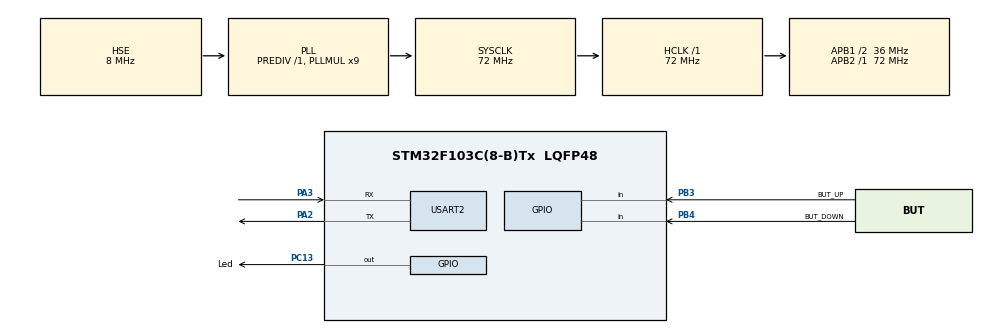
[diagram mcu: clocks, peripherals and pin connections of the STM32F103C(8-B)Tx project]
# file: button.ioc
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Mcu.Family=STM32F1
Mcu.Name=STM32F103C(8-B)Tx
Mcu.Package=LQFP48
NVIC.PriorityGroup=NVIC_PRIORITYGROUP_4
NVIC.USART2_IRQn=true\:0\:0\:false\:false\:true\:true\:true\:true
PA13.Mode=Serial_Wire
PA13.Signal=SYS_JTMS-SWDIO
PA14.Mode=Serial_Wire
PA14.Signal=SYS_JTCK-SWCLK
PA2.Mode=Asynchronous
PA2.Signal=USART2_TX
PA3.Mode=Asynchronous
PA3.Signal=USART2_RX
PB3.GPIO_Label=BUT_UP
PB3.Signal=GPIO_Input
PB4.GPIO_Label=BUT_DOWN
PB4.Signal=GPIO_Input
PC13-TAMPER-RTC.GPIO_Label=Led
PC13-TAMPER-RTC.Signal=GPIO_Output
PC14-OSC32_IN.Mode=LSE-External-Oscillator
PC14-OSC32_IN.Signal=RCC_OSC32_IN
PC15-OSC32_OUT.Mode=LSE-External-Oscillator
PC15-OSC32_OUT.Signal=RCC_OSC32_OUT
PD0-OSC_IN.Mode=HSE-External-Oscillator
PD0-OSC_IN.Signal=RCC_OSC_IN
PD1-OSC_OUT.Mode=HSE-External-Oscillator
PD1-OSC_OUT.Signal=RCC_OSC_OUT
ProjectManager.HeapSize=0x200
ProjectManager.StackSize=0x400
ProjectManager.TargetToolchain=Makefile
RCC.AHBFreq_Value=72000000
RCC.APB1CLKDivider=RCC_HCLK_DIV2
RCC.APB1Freq_Value=36000000
RCC.APB1TimFreq_Value=72000000
RCC.APB2Freq_Value=72000000
RCC.APB2TimFreq_Value=72000000
RCC.HCLKFreq_Value=72000000
RCC.PLLMUL=RCC_PLL_MUL9
RCC.PLLSourceVirtual=RCC_PLLSOURCE_HSE
RCC.RTCClockSelection=RCC_RTCCLKSOURCE_LSE
RCC.SYSCLKFreq_VALUE=72000000
RCC.SYSCLKSource=RCC_SYSCLKSOURCE_PLLCLK
RCC.USBFreq_Value=72000000
USART2.VirtualMode=VM_ASYNC
VP_RTC_No_RTC_Output.Mode=RTC_OUT_NO
VP_RTC_VS_RTC_Activate.Mode=RTC_Enabled
board=custom

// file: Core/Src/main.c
/* USER CODE BEGIN Header */
/**
  ******************************************************************************
  * @file           : main.c
  * @brief          : Main program body
  ******************************************************************************
  * @attention
  *
  * Copyright (c) 2024 STMicroelectronics.
  * All rights reserved.
  *
  * This software is licensed under terms that can be found in the LICENSE file
  * in the root directory of this software component.
  * If no LICENSE file comes with this software, it is provided AS-IS.
  *
  ******************************************************************************
  */
/* USER CODE END Header */
#include "main.h"

/* USER CODE BEGIN Includes */
#include "key.h"
#include "stm32f1xx_hal.h"
#include "stm32f1xx_hal_gpio.h"
/* USER CODE END Includes */

RTC_HandleTypeDef hrtc;

UART_HandleTypeDef huart2;

/* USER CODE BEGIN PV */
BUT_Button_t butUp;
BUT_Button_t butDown;
/* USER CODE END PV */

void SystemClock_Config(void);
static void MX_GPIO_Init(void);
static void MX_RTC_Init(void);
static void MX_USART2_UART_Init(void);
/* USER CODE BEGIN PFP */
static void BUT_Callback(BUT_Button_t* but, BUT_Presed_type_t type);
/* USER CODE END PFP */

int main(void)
{

  /* MCU Configuration--------------------------------------------------------*/

  /* Reset of all peripherals, Initializes the Flash interface and the Systick. */
  HAL_Init();

  /* Configure the system clock */
  SystemClock_Config();

  /* Initialize all configured peripherals */
  MX_GPIO_Init();
  MX_RTC_Init();
  MX_USART2_UART_Init();
  /* USER CODE BEGIN 2 */
  BUT_Init(&butUp, BUT_UP_GPIO_Port, BUT_UP_Pin, false, BUT_Callback);
  BUT_Init(&butDown, BUT_DOWN_GPIO_Port, BUT_DOWN_Pin, false, BUT_Callback);
  /* USER CODE END 2 */

  /* Infinite loop */
  /* USER CODE BEGIN WHILE */
  while (1)
  {
      HAL_GPIO_TogglePin(Led_GPIO_Port, Led_Pin);
      HAL_Delay(500);
    /* USER CODE END WHILE */

  }
}

void SystemClock_Config(void)
{
  RCC_OscInitTypeDef RCC_OscInitStruct = {0};
  RCC_ClkInitTypeDef RCC_ClkInitStruct = {0};
  RCC_PeriphCLKInitTypeDef PeriphClkInit = {0};

  /** Initializes the RCC Oscillators according to the specified parameters
  * in the RCC_OscInitTypeDef structure.
  */
  RCC_OscInitStruct.OscillatorType = RCC_OSCILLATORTYPE_HSE|RCC_OSCILLATORTYPE_LSE;
  RCC_OscInitStruct.HSEState = RCC_HSE_ON;
  RCC_OscInitStruct.HSEPredivValue = RCC_HSE_PREDIV_DIV1;
  RCC_OscInitStruct.LSEState = RCC_LSE_ON;
  RCC_OscInitStruct.HSIState = RCC_HSI_ON;
  RCC_OscInitStruct.PLL.PLLState = RCC_PLL_ON;
  RCC_OscInitStruct.PLL.PLLSource = RCC_PLLSOURCE_HSE;
  RCC_OscInitStruct.PLL.PLLMUL = RCC_PLL_MUL9;
  if (HAL_RCC_OscConfig(&RCC_OscInitStruct) != HAL_OK)
  {
    Error_Handler();
  }

  /** Initializes the CPU, AHB and APB buses clocks
  */
  RCC_ClkInitStruct.ClockType = RCC_CLOCKTYPE_HCLK|RCC_CLOCKTYPE_SYSCLK
                              |RCC_CLOCKTYPE_PCLK1|RCC_CLOCKTYPE_PCLK2;
  RCC_ClkInitStruct.SYSCLKSource = RCC_SYSCLKSOURCE_PLLCLK;
  RCC_ClkInitStruct.AHBCLKDivider = RCC_SYSCLK_DIV1;
  RCC_ClkInitStruct.APB1CLKDivider = RCC_HCLK_DIV2;
  RCC_ClkInitStruct.APB2CLKDivider = RCC_HCLK_DIV1;

  if (HAL_RCC_ClockConfig(&RCC_ClkInitStruct, FLASH_LATENCY_2) != HAL_OK)
  {
    Error_Handler();
  }
  PeriphClkInit.PeriphClockSelection = RCC_PERIPHCLK_RTC;
  PeriphClkInit.RTCClockSelection = RCC_RTCCLKSOURCE_LSE;
  if (HAL_RCCEx_PeriphCLKConfig(&PeriphClkInit) != HAL_OK)
  {
    Error_Handler();
  }
}

static void MX_RTC_Init(void)
{

  RTC_TimeTypeDef sTime = {0};
  RTC_DateTypeDef DateToUpdate = {0};

  /** Initialize RTC Only
  */
  hrtc.Instance = RTC;
  hrtc.Init.AsynchPrediv = RTC_AUTO_1_SECOND;
  hrtc.Init.OutPut = RTC_OUTPUTSOURCE_NONE;
  if (HAL_RTC_Init(&hrtc) != HAL_OK)
  {
    Error_Handler();
  }

  /** Initialize RTC and set the Time and Date
  */
  sTime.Hours = 0x0;
  sTime.Minutes = 0x0;
  sTime.Seconds = 0x0;

  if (HAL_RTC_SetTime(&hrtc, &sTime, RTC_FORMAT_BCD) != HAL_OK)
  {
    Error_Handler();
  }
  DateToUpdate.WeekDay = RTC_WEEKDAY_MONDAY;
  DateToUpdate.Month = RTC_MONTH_JANUARY;
  DateToUpdate.Date = 0x1;
  DateToUpdate.Year = 0x0;

  if (HAL_RTC_SetDate(&hrtc, &DateToUpdate, RTC_FORMAT_BCD) != HAL_OK)
  {
    Error_Handler();
  }

}

static void MX_USART2_UART_Init(void)
{

  huart2.Instance = USART2;
  huart2.Init.BaudRate = 115200;
  huart2.Init.WordLength = UART_WORDLENGTH_8B;
  huart2.Init.StopBits = UART_STOPBITS_1;
  huart2.Init.Parity = UART_PARITY_NONE;
  huart2.Init.Mode = UART_MODE_TX_RX;
  huart2.Init.HwFlowCtl = UART_HWCONTROL_NONE;
  huart2.Init.OverSampling = UART_OVERSAMPLING_16;
  if (HAL_UART_Init(&huart2) != HAL_OK)
  {
    Error_Handler();
  }

}

static void MX_GPIO_Init(void)
{
  GPIO_InitTypeDef GPIO_InitStruct = {0};

  /* GPIO Ports Clock Enable */
  __HAL_RCC_GPIOC_CLK_ENABLE();
  __HAL_RCC_GPIOD_CLK_ENABLE();
  __HAL_RCC_GPIOA_CLK_ENABLE();
  __HAL_RCC_GPIOB_CLK_ENABLE();

  /*Configure GPIO pin Output Level */
  HAL_GPIO_WritePin(Led_GPIO_Port, Led_Pin, GPIO_PIN_RESET);

  /*Configure GPIO pin : Led_Pin */
  GPIO_InitStruct.Pin = Led_Pin;
  GPIO_InitStruct.Mode = GPIO_MODE_OUTPUT_PP;
  GPIO_InitStruct.Pull = GPIO_NOPULL;
  GPIO_InitStruct.Speed = GPIO_SPEED_FREQ_LOW;
  HAL_GPIO_Init(Led_GPIO_Port, &GPIO_InitStruct);

  /*Configure GPIO pins : BUT_UP_Pin BUT_DOWN_Pin */
  GPIO_InitStruct.Pin = BUT_UP_Pin|BUT_DOWN_Pin;
  GPIO_InitStruct.Mode = GPIO_MODE_INPUT;
  GPIO_InitStruct.Pull = GPIO_NOPULL;
  HAL_GPIO_Init(GPIOB, &GPIO_InitStruct);

}

/* USER CODE BEGIN 4 */
void ProgramHandler(void) {
    BUT_Check(&butUp);
    BUT_Check(&butDown);
}

void BUT_Callback(BUT_Button_t* but, BUT_Presed_type_t press) {
    if (but == &butUp) {
        if (press == PRESS_CLICK) {
            HAL_UART_Transmit_IT(&huart2, (uint8_t*)"Up click\n", 9);
        } else if (press == PRESS_LONG_CLICK) {
            HAL_UART_Transmit_IT(&huart2, (uint8_t*)"Up long click\n", 14);
        }
    } else if (but == &butDown) {
        if (press == PRESS_CLICK) {
            HAL_UART_Transmit_IT(&huart2, (uint8_t*)"Down click\n", 11);
        } else if (press == PRESS_LONG_CLICK) {
            HAL_UART_Transmit_IT(&huart2, (uint8_t*)"Down long click\n", 16);
        }
    }
}
/* USER CODE END 4 */

void Error_Handler(void)
{
  __disable_irq();
  while (1)
  {
  }
}
